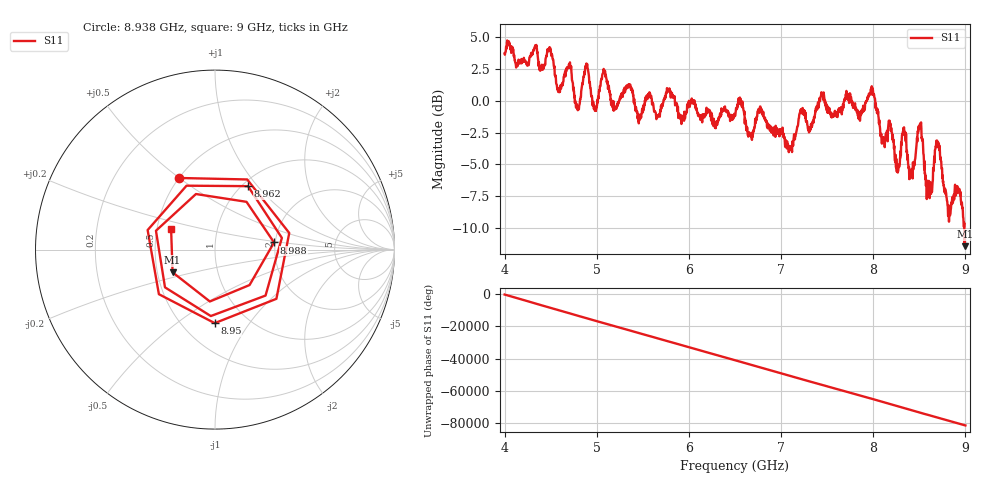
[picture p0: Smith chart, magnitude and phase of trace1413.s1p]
! Created with skrf 1.8.0 (http://scikit-rf.org).
# Hz S RI R 50.0
!freq ReS11 ImS11
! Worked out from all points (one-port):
!   1601 points, 4 GHz to 9 GHz, reference 50 ohm
!   lowest |S11| = -11.4 dB at 8.997 GHz (marker M1), VSWR 1.73, Z = 30 - j8.2 ohm
!   |S11| at or under -10 dB: 8.988765 GHz to end of sweep
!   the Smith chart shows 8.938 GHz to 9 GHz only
!   S11 on the Smith chart (normalised r, x): 8.938 GHz: 0.50, +0.50; 8.95 GHz: 0.71, -0.70; 8.962 GHz: 1.06, +0.89; 8.988 GHz: 1.97, +0.18; 9 GHz: 0.59, +0.14
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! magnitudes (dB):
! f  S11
! 4 GHz  3.7
! 4.488 GHz  4.1
! 4.625 GHz  1.3
! 4.978 GHz  -0.7
! 5.081 GHz  2.4
! 5.25 GHz  0.1
! 5.875 GHz  -0.8
! 6.5 GHz  -1.1
! 7.125 GHz  -3.3
! 7.225 GHz  -0.9
! 7.75 GHz  0.6
! 7.991 GHz  0.5
! 8.103 GHz  -2.8
! 8.188 GHz  -1.8
! 8.262 GHz  -5.3
! 8.334 GHz  -2.1
! 8.375 GHz  -4.3
! 8.422 GHz  -5.6
! 8.506 GHz  -1.9
! 8.603 GHz  -6.3
! 8.697 GHz  -3.3
! 8.819 GHz  -8.2
! 8.938 GHz  -7.0
! 8.95 GHz  -7.8
! 8.962 GHz  -8.0
! 8.988 GHz  -9.6
! 8.997 GHz  -11.4
! 9 GHz  -11.4
